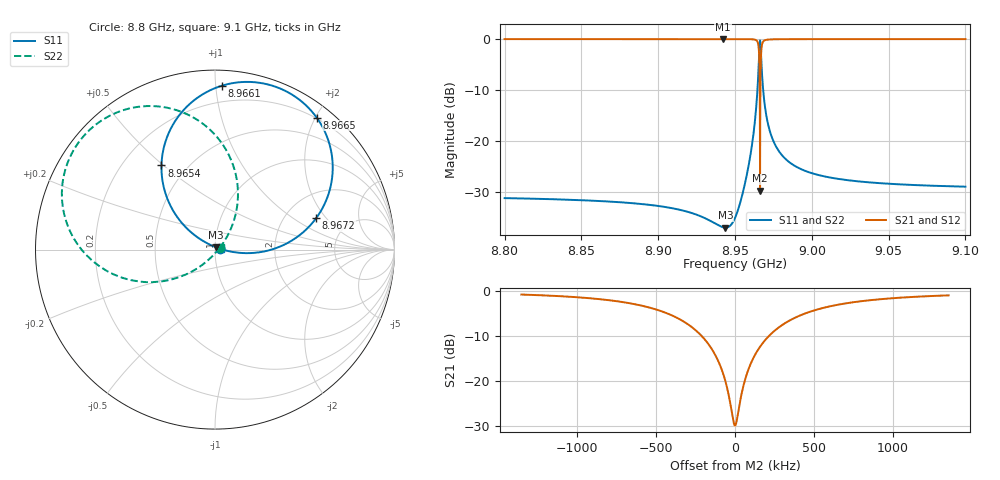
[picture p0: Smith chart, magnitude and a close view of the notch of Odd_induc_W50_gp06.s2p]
! Sonnet Data File
! From: emgraph Version : 16.52
! From Emgraph Data: Resonator2_cp
! Data File Written: 10/08/2017 10:04:02
!< HDATE 10/07/2017 20:48:38
!< MDATE 10/07/2017 23:34:59
!< PARAMS
!< gap = 6.0
!< Length = 400.0
!< Pwid1 = 2000.0
!< Width = 50.0
!< END PARAMS
# GHZ S MA R 47.40000
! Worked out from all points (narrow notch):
!   2096 points, 8.8 GHz to 9.1 GHz, reference 47.4 ohm
!   highest |S21| = 0.00 dB at 8.9422 GHz (marker M1); lowest = -29.8 dB at 8.9663 GHz (marker M2)
!   notch at M2: 29.8 dB deep, 230 kHz wide at half that depth
!   lowest |S11| = -37.1 dB at 8.9438 GHz (marker M3), VSWR 1.03, Z = 47.9 + j1.25 ohm
!   |S11| at or under -10 dB: start of sweep to 8.9646 GHz; 8.9683 GHz to end of sweep
!   |S22| runs from -37.1 to -0.3 dB; largest |S21 - S12| = 0
!   S11 on the Smith chart (normalised r, x): 8.8 GHz: 1.05, +0.01; 8.9654 GHz: 0.36, +0.49; 8.9661 GHz: 0.09, +1.04; 8.9665 GHz: 0.19, +2.02; 8.9672 GHz: 2.95, +1.59; 9.1 GHz: 1.07, +0.00
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8.8  0.02735 12.2  0.9996 -73.0  0.9996 -73.0  0.02735 21.7
!< P1 F=8.8 Eeff=(5.02890353 -2.1766e-5) Z0=(47.410578 1.04358e-4) R=0.0 C=0.0
!< P2 F=8.8 Eeff=(5.02890353 -2.1766e-5) Z0=(47.410578 1.04358e-4) R=0.0 C=0.0
8.85  0.02609 13.4  0.9997 -73.5  0.9997 -73.5  0.02609 19.5
8.9  0.0229 18.0  0.9997 -74.2  0.9997 -74.2  0.0229 13.7
8.9422  0.01414 61.3  0.9999 -75.5  0.9999 -75.5  0.01409 -32.2
8.9438  0.01401 68.6  0.9999 -75.6  0.9999 -75.6  0.01396 -39.8
8.95  0.01744 104.7  0.9998 -76.2  0.9998 -76.2  0.01736 -77.4
8.9602  0.07476 143.6  0.9969 -80.0  0.9969 -80.0  0.07463 -124.0
8.96398  0.2311 141.5  0.9707 -89.1  0.9707 -89.1  0.2308 -140.9
8.965438  0.5557 122.4  0.818 -109.5  0.818 -109.5  0.5552 -164.3
8.965793  0.7425 107.9  0.6408 -123.7  0.6408 -123.7  0.7418 -179.8
8.966095  0.9142 87.6  0.3288 -141.3  0.3288 -141.3  0.9133 159.1
8.966229  0.9594 76.2  0.1358 -144.5  0.1358 -144.5  0.9585 147.3
8.966314  0.9681 68.7  0.03234 -75.1  0.03234 -75.1  0.9672 139.6
8.966401  0.9596 61.2  0.1377 -6.9  0.1377 -6.9  0.9587 131.8
8.966506  0.9284 52.4  0.2867 -8.5  0.2867 -8.5  0.9276 122.8
8.966802  0.7766 32.6  0.5991 -25.0  0.5991 -25.0  0.7759 102.2
8.967178  0.5907 17.3  0.7936 -39.6  0.7936 -39.6  0.5902 86.1
8.969239  0.2328 -4.1  0.9711 -62.4  0.9711 -62.4  0.2326 60.1
8.975249  0.09746 -7.5  0.9951 -70.3  0.9951 -70.3  0.09742 47.0
9  0.0481 -2.0  0.9988 -73.5  0.9988 -73.5  0.0481 35.1
9.05  0.03787 1.7  0.9993 -74.5  0.9993 -74.5  0.03787 29.3
9.1  0.03543 2.7  0.9994 -75.1  0.9994 -75.1  0.03543 27.1
